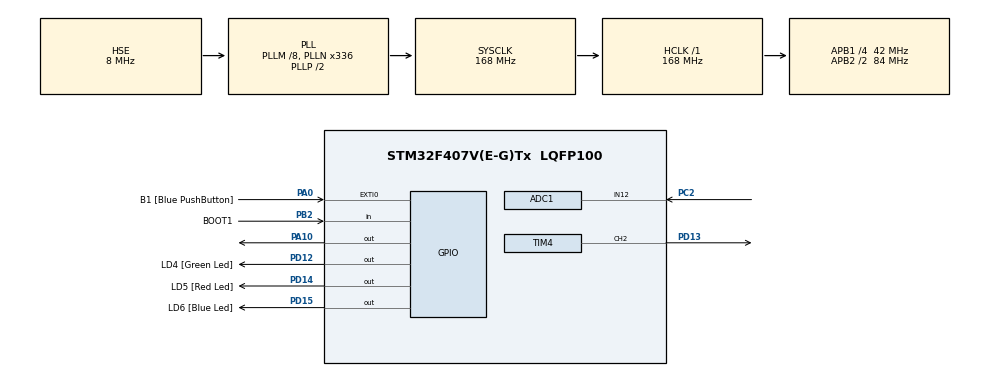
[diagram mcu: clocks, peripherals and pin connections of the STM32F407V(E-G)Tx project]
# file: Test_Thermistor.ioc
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ADC1.Channel-0\#ChannelRegularConversion=ADC_CHANNEL_12
ADC1.NbrOfConversionFlag=1
ADC1.Rank-0\#ChannelRegularConversion=1
ADC1.SamplingTime-0\#ChannelRegularConversion=ADC_SAMPLETIME_3CYCLES
ADC1.master=1
Mcu.Family=STM32F4
Mcu.Name=STM32F407V(E-G)Tx
Mcu.Package=LQFP100
NVIC.PriorityGroup=NVIC_PRIORITYGROUP_0
PA0-WKUP.GPIO_Label=B1 [Blue PushButton]
PA0-WKUP.GPIO_ModeDefaultEXTI=GPIO_MODE_EVT_RISING
PA0-WKUP.GPIO_PuPd=GPIO_NOPULL
PA0-WKUP.Signal=GPXTI0
PA10.Signal=GPIO_Output
PB2.GPIO_Label=BOOT1
PB2.GPIO_Mode=GPIO_MODE_INPUT
PB2.GPIO_PuPd=GPIO_NOPULL
PB2.Signal=GPIO_Input
PC14-OSC32_IN.GPIO_Label=PC14-OSC32_IN
PC14-OSC32_IN.Mode=LSE-External-Oscillator
PC14-OSC32_IN.Signal=RCC_OSC32_IN
PC15-OSC32_OUT.GPIO_Label=PC15-OSC32_OUT
PC15-OSC32_OUT.Mode=LSE-External-Oscillator
PC15-OSC32_OUT.Signal=RCC_OSC32_OUT
PC2.Signal=ADCx_IN12
PD12.GPIO_Label=LD4 [Green Led]
PD12.GPIO_PuPd=GPIO_NOPULL
PD12.GPIO_Speed=GPIO_SPEED_FREQ_LOW
PD12.Signal=GPIO_Output
PD13.Signal=S_TIM4_CH2
PD14.GPIO_Label=LD5 [Red Led]
PD14.GPIO_PuPd=GPIO_NOPULL
PD14.GPIO_Speed=GPIO_SPEED_FREQ_LOW
PD14.Signal=GPIO_Output
PD15.GPIO_Label=LD6 [Blue Led]
PD15.GPIO_PuPd=GPIO_NOPULL
PD15.GPIO_Speed=GPIO_SPEED_FREQ_LOW
PD15.Signal=GPIO_Output
PH0-OSC_IN.GPIO_Label=PH0-OSC_IN
PH0-OSC_IN.Mode=HSE-External-Oscillator
PH0-OSC_IN.Signal=RCC_OSC_IN
PH1-OSC_OUT.GPIO_Label=PH1-OSC_OUT
PH1-OSC_OUT.Mode=HSE-External-Oscillator
PH1-OSC_OUT.Signal=RCC_OSC_OUT
ProjectManager.HeapSize=0x200
ProjectManager.StackSize=0x400
ProjectManager.TargetToolchain=STM32CubeIDE
RCC.48MHZClocksFreq_Value=48000000
RCC.AHBFreq_Value=168000000
RCC.APB1CLKDivider=RCC_HCLK_DIV4
RCC.APB1Freq_Value=42000000
RCC.APB1TimFreq_Value=84000000
RCC.APB2CLKDivider=RCC_HCLK_DIV2
RCC.APB2Freq_Value=84000000
RCC.APB2TimFreq_Value=168000000
RCC.CortexFreq_Value=168000000
RCC.HCLKFreq_Value=168000000
RCC.HSE_VALUE=8000000
RCC.HSI_VALUE=16000000
RCC.PLLM=8
RCC.PLLN=336
RCC.PLLQ=7
RCC.PLLSourceVirtual=RCC_PLLSOURCE_HSE
RCC.SYSCLKFreq_VALUE=168000000
RCC.SYSCLKSource=RCC_SYSCLKSOURCE_PLLCLK
RCC.VCOOutputFreq_Value=336000000
SH.ADCx_IN12.0=ADC1_IN12,IN12
SH.S_TIM4_CH2.0=TIM4_CH2,PWM Generation2 CH2
TIM4.Channel-PWM\ Generation2\ CH2=TIM_CHANNEL_2
TIM4.Period=999
TIM4.Prescaler=71
VP_TIM1_VS_ClockSourceINT.Mode=Internal
VP_TIM4_VS_ClockSourceINT.Mode=Internal
board=STM32F407G-DISC1

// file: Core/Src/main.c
/* USER CODE BEGIN Header */
/**
  ******************************************************************************
  * @file           : main.c
  * @brief          : Main program body
  ******************************************************************************
  * @attention
  *
  * Copyright (c) 2023 STMicroelectronics.
  * All rights reserved.
  *
  * This software is licensed under terms that can be found in the LICENSE file
  * in the root directory of this software component.
  * If no LICENSE file comes with this software, it is provided AS-IS.
  *
  ******************************************************************************
  */
/* USER CODE END Header */
#include "main.h"

ADC_HandleTypeDef hadc1;

TIM_HandleTypeDef htim1;
TIM_HandleTypeDef htim4;

/* USER CODE BEGIN PV */
int16_t PWM;
/* USER CODE END PV */

void SystemClock_Config(void);
static void MX_GPIO_Init(void);
static void MX_ADC1_Init(void);
static void MX_TIM4_Init(void);
static void MX_TIM1_Init(void);

/* USER CODE BEGIN 0 */
void delay_us (uint16_t us) //warning: this function is not reentrant
{
	__HAL_TIM_SET_COUNTER(&htim1,0); //reset the timer counter
	HAL_TIM_Base_Start(&htim1); //start the timer
	while (__HAL_TIM_GET_COUNTER(&htim1) < us);  // wait for the counter to reach the us value provided as an argument
	HAL_TIM_Base_Stop(&htim1); //stop the timer.
}

void HAL_TIM_PeriodElapsedCallback(TIM_HandleTypeDef *htim) {
	//change the duty cycle of TIM2 whenever the TIM1 interrupt occurs.
	PWM = __HAL_TIM_GET_COMPARE(&htim4, TIM_CHANNEL_1); //the period is 1000. Duty cycle should vary between 0 and 1000.

	//update the PWM control register
	__HAL_TIM_SET_COMPARE(&htim4, TIM_CHANNEL_1, PWM);
}
/* USER CODE END 0 */

int main(void)
{
  /* USER CODE BEGIN 1 */
	uint16_t thermistor;
  /* USER CODE END 1 */

  /* MCU Configuration--------------------------------------------------------*/

  /* Reset of all peripherals, Initializes the Flash interface and the Systick. */
  HAL_Init();

  /* Configure the system clock */
  SystemClock_Config();

  /* Initialize all configured peripherals */
  MX_GPIO_Init();
  MX_ADC1_Init();
  MX_TIM4_Init();
  MX_TIM1_Init();
  /* USER CODE BEGIN 2 */
  HAL_TIM_Base_Start_IT(&htim1);
  HAL_TIM_PWM_Start(&htim4, TIM_CHANNEL_1); //enable PWM output on LED pin
  /* USER CODE END 2 */

  /* Infinite loop */
  /* USER CODE BEGIN WHILE */
  while (1)
  {
	  //Test: Set GPIO pin high
	  HAL_GPIO_WritePin(GPIOA, GPIO_PIN_10, GPIO_PIN_SET);

	  //Get ADC value
	  HAL_ADC_Start(&hadc1);
	  HAL_ADC_PollForConversion(&hadc1, HAL_MAX_DELAY);
	  thermistor = HAL_ADC_GetValue(&hadc1); //from 0 to 4095
	  PWM = thermistor/4095*1000;
	  //Test: Set GPIO pin low
	  HAL_GPIO_WritePin(GPIOA, GPIO_PIN_10, GPIO_PIN_RESET);

	  PWM = __HAL_TIM_GET_COMPARE(&htim4, TIM_CHANNEL_1); //the period is 1000. Duty cycle should vary between 0 and 1000.

	  	//update the PWM control register
	  	__HAL_TIM_SET_COMPARE(&htim4, TIM_CHANNEL_1, PWM);
    /* USER CODE END WHILE */

  }
}

void SystemClock_Config(void)
{
  RCC_OscInitTypeDef RCC_OscInitStruct = {0};
  RCC_ClkInitTypeDef RCC_ClkInitStruct = {0};

  /** Configure the main internal regulator output voltage
  */
  __HAL_RCC_PWR_CLK_ENABLE();
  __HAL_PWR_VOLTAGESCALING_CONFIG(PWR_REGULATOR_VOLTAGE_SCALE1);

  /** Initializes the RCC Oscillators according to the specified parameters
  * in the RCC_OscInitTypeDef structure.
  */
  RCC_OscInitStruct.OscillatorType = RCC_OSCILLATORTYPE_HSE;
  RCC_OscInitStruct.HSEState = RCC_HSE_ON;
  RCC_OscInitStruct.PLL.PLLState = RCC_PLL_ON;
  RCC_OscInitStruct.PLL.PLLSource = RCC_PLLSOURCE_HSE;
  RCC_OscInitStruct.PLL.PLLM = 8;
  RCC_OscInitStruct.PLL.PLLN = 336;
  RCC_OscInitStruct.PLL.PLLP = RCC_PLLP_DIV2;
  RCC_OscInitStruct.PLL.PLLQ = 7;
  if (HAL_RCC_OscConfig(&RCC_OscInitStruct) != HAL_OK)
  {
    Error_Handler();
  }

  /** Initializes the CPU, AHB and APB buses clocks
  */
  RCC_ClkInitStruct.ClockType = RCC_CLOCKTYPE_HCLK|RCC_CLOCKTYPE_SYSCLK
                              |RCC_CLOCKTYPE_PCLK1|RCC_CLOCKTYPE_PCLK2;
  RCC_ClkInitStruct.SYSCLKSource = RCC_SYSCLKSOURCE_PLLCLK;
  RCC_ClkInitStruct.AHBCLKDivider = RCC_SYSCLK_DIV1;
  RCC_ClkInitStruct.APB1CLKDivider = RCC_HCLK_DIV4;
  RCC_ClkInitStruct.APB2CLKDivider = RCC_HCLK_DIV2;

  if (HAL_RCC_ClockConfig(&RCC_ClkInitStruct, FLASH_LATENCY_5) != HAL_OK)
  {
    Error_Handler();
  }
}

static void MX_ADC1_Init(void)
{

  ADC_ChannelConfTypeDef sConfig = {0};

  /** Configure the global features of the ADC (Clock, Resolution, Data Alignment and number of conversion)
  */
  hadc1.Instance = ADC1;
  hadc1.Init.ClockPrescaler = ADC_CLOCK_SYNC_PCLK_DIV4;
  hadc1.Init.Resolution = ADC_RESOLUTION_12B;
  hadc1.Init.ScanConvMode = DISABLE;
  hadc1.Init.ContinuousConvMode = DISABLE;
  hadc1.Init.DiscontinuousConvMode = DISABLE;
  hadc1.Init.ExternalTrigConvEdge = ADC_EXTERNALTRIGCONVEDGE_NONE;
  hadc1.Init.ExternalTrigConv = ADC_SOFTWARE_START;
  hadc1.Init.DataAlign = ADC_DATAALIGN_RIGHT;
  hadc1.Init.NbrOfConversion = 1;
  hadc1.Init.DMAContinuousRequests = DISABLE;
  hadc1.Init.EOCSelection = ADC_EOC_SINGLE_CONV;
  if (HAL_ADC_Init(&hadc1) != HAL_OK)
  {
    Error_Handler();
  }

  /** Configure for the selected ADC regular channel its corresponding rank in the sequencer and its sample time.
  */
  sConfig.Channel = ADC_CHANNEL_12;
  sConfig.Rank = 1;
  sConfig.SamplingTime = ADC_SAMPLETIME_3CYCLES;
  if (HAL_ADC_ConfigChannel(&hadc1, &sConfig) != HAL_OK)
  {
    Error_Handler();
  }

}

static void MX_TIM1_Init(void)
{

  TIM_ClockConfigTypeDef sClockSourceConfig = {0};
  TIM_MasterConfigTypeDef sMasterConfig = {0};

  htim1.Instance = TIM1;
  htim1.Init.Prescaler = 0;
  htim1.Init.CounterMode = TIM_COUNTERMODE_UP;
  htim1.Init.Period = 65535;
  htim1.Init.ClockDivision = TIM_CLOCKDIVISION_DIV1;
  htim1.Init.RepetitionCounter = 0;
  htim1.Init.AutoReloadPreload = TIM_AUTORELOAD_PRELOAD_DISABLE;
  if (HAL_TIM_Base_Init(&htim1) != HAL_OK)
  {
    Error_Handler();
  }
  sClockSourceConfig.ClockSource = TIM_CLOCKSOURCE_INTERNAL;
  if (HAL_TIM_ConfigClockSource(&htim1, &sClockSourceConfig) != HAL_OK)
  {
    Error_Handler();
  }
  sMasterConfig.MasterOutputTrigger = TIM_TRGO_RESET;
  sMasterConfig.MasterSlaveMode = TIM_MASTERSLAVEMODE_DISABLE;
  if (HAL_TIMEx_MasterConfigSynchronization(&htim1, &sMasterConfig) != HAL_OK)
  {
    Error_Handler();
  }

}

static void MX_TIM4_Init(void)
{

  TIM_ClockConfigTypeDef sClockSourceConfig = {0};
  TIM_MasterConfigTypeDef sMasterConfig = {0};
  TIM_OC_InitTypeDef sConfigOC = {0};

  htim4.Instance = TIM4;
  htim4.Init.Prescaler = 71;
  htim4.Init.CounterMode = TIM_COUNTERMODE_UP;
  htim4.Init.Period = 999;
  htim4.Init.ClockDivision = TIM_CLOCKDIVISION_DIV1;
  htim4.Init.AutoReloadPreload = TIM_AUTORELOAD_PRELOAD_DISABLE;
  if (HAL_TIM_Base_Init(&htim4) != HAL_OK)
  {
    Error_Handler();
  }
  sClockSourceConfig.ClockSource = TIM_CLOCKSOURCE_INTERNAL;
  if (HAL_TIM_ConfigClockSource(&htim4, &sClockSourceConfig) != HAL_OK)
  {
    Error_Handler();
  }
  if (HAL_TIM_PWM_Init(&htim4) != HAL_OK)
  {
    Error_Handler();
  }
  sMasterConfig.MasterOutputTrigger = TIM_TRGO_RESET;
  sMasterConfig.MasterSlaveMode = TIM_MASTERSLAVEMODE_DISABLE;
  if (HAL_TIMEx_MasterConfigSynchronization(&htim4, &sMasterConfig) != HAL_OK)
  {
    Error_Handler();
  }
  sConfigOC.OCMode = TIM_OCMODE_PWM1;
  sConfigOC.Pulse = 0;
  sConfigOC.OCPolarity = TIM_OCPOLARITY_HIGH;
  sConfigOC.OCFastMode = TIM_OCFAST_DISABLE;
  if (HAL_TIM_PWM_ConfigChannel(&htim4, &sConfigOC, TIM_CHANNEL_2) != HAL_OK)
  {
    Error_Handler();
  }
  HAL_TIM_MspPostInit(&htim4);

}

static void MX_GPIO_Init(void)
{
  GPIO_InitTypeDef GPIO_InitStruct = {0};

  /* GPIO Ports Clock Enable */
  __HAL_RCC_GPIOC_CLK_ENABLE();
  __HAL_RCC_GPIOH_CLK_ENABLE();
  __HAL_RCC_GPIOA_CLK_ENABLE();
  __HAL_RCC_GPIOB_CLK_ENABLE();
  __HAL_RCC_GPIOD_CLK_ENABLE();

  /*Configure GPIO pin Output Level */
  HAL_GPIO_WritePin(GPIOD, LD4_Pin|LD5_Pin|LD6_Pin, GPIO_PIN_RESET);

  /*Configure GPIO pin Output Level */
  HAL_GPIO_WritePin(GPIOA, GPIO_PIN_10, GPIO_PIN_RESET);

  /*Configure GPIO pin : B1_Pin */
  GPIO_InitStruct.Pin = B1_Pin;
  GPIO_InitStruct.Mode = GPIO_MODE_EVT_RISING;
  GPIO_InitStruct.Pull = GPIO_NOPULL;
  HAL_GPIO_Init(B1_GPIO_Port, &GPIO_InitStruct);

  /*Configure GPIO pin : BOOT1_Pin */
  GPIO_InitStruct.Pin = BOOT1_Pin;
  GPIO_InitStruct.Mode = GPIO_MODE_INPUT;
  GPIO_InitStruct.Pull = GPIO_NOPULL;
  HAL_GPIO_Init(BOOT1_GPIO_Port, &GPIO_InitStruct);

  /*Configure GPIO pins : LD4_Pin LD5_Pin LD6_Pin */
  GPIO_InitStruct.Pin = LD4_Pin|LD5_Pin|LD6_Pin;
  GPIO_InitStruct.Mode = GPIO_MODE_OUTPUT_PP;
  GPIO_InitStruct.Pull = GPIO_NOPULL;
  GPIO_InitStruct.Speed = GPIO_SPEED_FREQ_LOW;
  HAL_GPIO_Init(GPIOD, &GPIO_InitStruct);

  /*Configure GPIO pin : PA10 */
  GPIO_InitStruct.Pin = GPIO_PIN_10;
  GPIO_InitStruct.Mode = GPIO_MODE_OUTPUT_PP;
  GPIO_InitStruct.Pull = GPIO_NOPULL;
  GPIO_InitStruct.Speed = GPIO_SPEED_FREQ_LOW;
  HAL_GPIO_Init(GPIOA, &GPIO_InitStruct);

}

void Error_Handler(void)
{
  __disable_irq();
  while (1)
  {
  }
}
